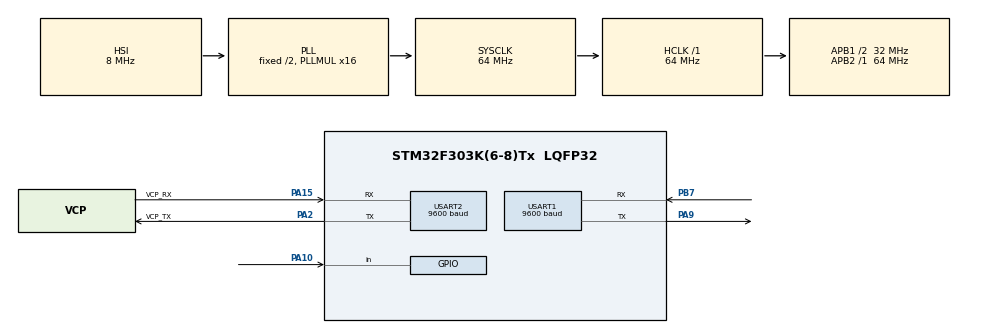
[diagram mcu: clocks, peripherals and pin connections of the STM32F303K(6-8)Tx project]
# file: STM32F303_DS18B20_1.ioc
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Dma.Request0=USART1_RX
Dma.Request1=USART1_TX
Dma.USART1_RX.0.Direction=DMA_PERIPH_TO_MEMORY
Dma.USART1_RX.0.Instance=DMA1_Channel5
Dma.USART1_RX.0.MemDataAlignment=DMA_MDATAALIGN_BYTE
Dma.USART1_RX.0.MemInc=DMA_MINC_ENABLE
Dma.USART1_RX.0.Mode=DMA_NORMAL
Dma.USART1_RX.0.PeriphDataAlignment=DMA_PDATAALIGN_BYTE
Dma.USART1_RX.0.PeriphInc=DMA_PINC_DISABLE
Dma.USART1_RX.0.Priority=DMA_PRIORITY_HIGH
Dma.USART1_TX.1.Direction=DMA_MEMORY_TO_PERIPH
Dma.USART1_TX.1.Instance=DMA1_Channel4
Dma.USART1_TX.1.MemDataAlignment=DMA_MDATAALIGN_BYTE
Dma.USART1_TX.1.MemInc=DMA_MINC_ENABLE
Dma.USART1_TX.1.Mode=DMA_NORMAL
Dma.USART1_TX.1.PeriphDataAlignment=DMA_PDATAALIGN_BYTE
Dma.USART1_TX.1.PeriphInc=DMA_PINC_DISABLE
Dma.USART1_TX.1.Priority=DMA_PRIORITY_VERY_HIGH
Mcu.Family=STM32F3
Mcu.Name=STM32F303K(6-8)Tx
Mcu.Package=LQFP32
NVIC.DMA1_Channel4_IRQn=true\:0\:0\:false\:false\:true\:false
NVIC.DMA1_Channel5_IRQn=true\:0\:0\:false\:false\:true\:false
NVIC.PriorityGroup=NVIC_PRIORITYGROUP_4
NVIC.TIM2_IRQn=true\:0\:0\:false\:false\:true\:true
NVIC.USART1_IRQn=true\:0\:0\:false\:false\:true\:true
PA10.Signal=GPIO_Input
PA13.GPIO_Label=SWDIO
PA13.Mode=Serial_Wire
PA13.Signal=SYS_JTMS-SWDIO
PA14.GPIO_Label=SWCLK
PA14.Mode=Serial_Wire
PA14.Signal=SYS_JTCK-SWCLK
PA15.GPIO_Label=VCP_RX
PA15.Mode=Asynchronous
PA15.Signal=USART2_RX
PA2.GPIO_Label=VCP_TX
PA2.Mode=Asynchronous
PA2.Signal=USART2_TX
PA9.GPIO_FM8=SYSCFG_CFGR1_I2C_PB8_FMP
PA9.Mode=Asynchronous
PA9.Signal=USART1_TX
PB7.GPIO_FM8=SYSCFG_CFGR1_I2C_PB8_FMP
PB7.Mode=Asynchronous
PB7.Signal=USART1_RX
PF0\ /\ OSC_IN.GPIO_Label=MCO
PF0\ /\ OSC_IN.Signal=RCC_OSC_IN
ProjectManager.HeapSize=0x200
ProjectManager.StackSize=0x400
ProjectManager.TargetToolchain=SW4STM32
RCC.AHBFreq_Value=64000000
RCC.APB1CLKDivider=RCC_HCLK_DIV2
RCC.APB1Freq_Value=32000000
RCC.APB1TimFreq_Value=64000000
RCC.APB2Freq_Value=64000000
RCC.APB2TimFreq_Value=64000000
RCC.CortexFreq_Value=64000000
RCC.HCLKFreq_Value=64000000
RCC.HSE_VALUE=8000000
RCC.HSI_VALUE=8000000
RCC.PLLMUL=RCC_PLL_MUL16
RCC.SYSCLKFreq_VALUE=64000000
RCC.SYSCLKSourceVirtual=RCC_SYSCLKSOURCE_PLLCLK
TIM2.Prescaler=8
USART1.BaudRate=9600
USART1.VirtualMode-Asynchronous=VM_ASYNC
USART1.WordLength=WORDLENGTH_8B
USART2.BaudRate=9600
USART2.VirtualMode-Asynchronous=VM_ASYNC
USART2.WordLength=WORDLENGTH_8B
VP_TIM2_VS_ClockSourceINT.Mode=Internal
board=NUCLEO-F303K8

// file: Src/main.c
/**
  ******************************************************************************
  * File Name          : main.c
  * Description        : Main program body
  ******************************************************************************
  ** This notice applies to any and all portions of this file
  * that are not between comment pairs USER CODE BEGIN and
  * USER CODE END. Other portions of this file, whether
  * inserted by the user or by software development tools
  * are owned by their respective copyright owners.
  *
  * COPYRIGHT(c) 2017 STMicroelectronics
  *
  * Redistribution and use in source and binary forms, with or without modification,
  * are permitted provided that the following conditions are met:
  *   1. Redistributions of source code must retain the above copyright notice,
  *      this list of conditions and the following disclaimer.
  *   2. Redistributions in binary form must reproduce the above copyright notice,
  *      this list of conditions and the following disclaimer in the documentation
  *      and/or other materials provided with the distribution.
  *   3. Neither the name of STMicroelectronics nor the names of its contributors
  *      may be used to endorse or promote products derived from this software
  *      without specific prior written permission.
  *
  * THIS SOFTWARE IS PROVIDED BY THE COPYRIGHT HOLDERS AND CONTRIBUTORS "AS IS"
  * AND ANY EXPRESS OR IMPLIED WARRANTIES, INCLUDING, BUT NOT LIMITED TO, THE
  * IMPLIED WARRANTIES OF MERCHANTABILITY AND FITNESS FOR A PARTICULAR PURPOSE ARE
  * DISCLAIMED. IN NO EVENT SHALL THE COPYRIGHT HOLDER OR CONTRIBUTORS BE LIABLE
  * FOR ANY DIRECT, INDIRECT, INCIDENTAL, SPECIAL, EXEMPLARY, OR CONSEQUENTIAL
  * DAMAGES (INCLUDING, BUT NOT LIMITED TO, PROCUREMENT OF SUBSTITUTE GOODS OR
  * SERVICES; LOSS OF USE, DATA, OR PROFITS; OR BUSINESS INTERRUPTION) HOWEVER
  * CAUSED AND ON ANY THEORY OF LIABILITY, WHETHER IN CONTRACT, STRICT LIABILITY,
  * OR TORT (INCLUDING NEGLIGENCE OR OTHERWISE) ARISING IN ANY WAY OUT OF THE USE
  * OF THIS SOFTWARE, EVEN IF ADVISED OF THE POSSIBILITY OF SUCH DAMAGE.
  *
  ******************************************************************************
  */
#include "main.h"
#include "stm32f3xx_hal.h"
#include "dma.h"
#include "tim.h"
#include "usart.h"
#include "gpio.h"

/* USER CODE BEGIN Includes */
#include "stm32f3xx_hal.h"
#include "ds18b20.h"
/* USER CODE END Includes */

/* USER CODE BEGIN PV */
/* Private variables ---------------------------------------------------------*/
volatile uint32_t time_us;
/* USER CODE END PV */

void SystemClock_Config(void);

/* USER CODE BEGIN PFP */
/* Private function prototypes -----------------------------------------------*/

/* USER CODE END PFP */

/* USER CODE BEGIN 0 */
//void HAL_SYSTICK_Callback(void)
//{
//	if( time_us>=0) time_us--;
//}

void HAL_TIM_PeriodElapsedCallback(TIM_HandleTypeDef *htim)
{

	if (htim->Instance==TIM2){
		time_us--;
	}

}

int _write( int file, char *ptr, int len )
{
  HAL_UART_Transmit(&huart2,(uint8_t*) ptr, len, 1000);
  return len;
}

uint8_t FunctionBuffer[12];
int8_t devaddr[8]={0x28,0xe9,0xeb,0x6e,0x08,0x0,0x0,0xab};

/* USER CODE END 0 */

int main(void)
{

  /* MCU Configuration----------------------------------------------------------*/

  /* Reset of all peripherals, Initializes the Flash interface and the Systick. */
  HAL_Init();

  /* Configure the system clock */
  SystemClock_Config();

  /* USER CODE BEGIN SysInit */
  HAL_UART_MspInit(&huart1);
  /* USER CODE END SysInit */

  /* Initialize all configured peripherals */
  MX_GPIO_Init();
  MX_DMA_Init();
  MX_USART2_UART_Init();
  MX_USART1_UART_Init();
  MX_TIM2_Init();

  /* USER CODE BEGIN 2 */

  DS18B20_InitSeq();

  printf("\nInitialzed Success!!\n");
  int8_t addr[8];

  DS18B20_ResetDeviceSearchInfo();

  if (!DS18B20_DeviceSearch(addr))printf("No device Found.\r\n");
  else{
    printf("Address = ");
    for (int i = 0; i < ADDRESS_SIZE; i++)
    {
        printf("0x%02x ", (uint8_t)addr[i]);
    }
    printf("\r\n");
  }

  /* USER CODE END 2 */

  /* Infinite loop */
  while (1)
  {

  /* USER CODE BEGIN 3 */

		float tmp;

		tmp=DS18B20_GetTemperature();
		//tmp=DS18B20_GetSelectDeviceTemperature(devaddr);
		printf("TMP: %2.2f 'C \n",tmp);

		HAL_Delay(300);

  }
  /* USER CODE END 3 */

}

/** System Clock Configuration
*/
void SystemClock_Config(void)
{

  RCC_OscInitTypeDef RCC_OscInitStruct;
  RCC_ClkInitTypeDef RCC_ClkInitStruct;
  RCC_PeriphCLKInitTypeDef PeriphClkInit;

    /**Initializes the CPU, AHB and APB busses clocks
    */
  RCC_OscInitStruct.OscillatorType = RCC_OSCILLATORTYPE_HSI;
  RCC_OscInitStruct.HSIState = RCC_HSI_ON;
  RCC_OscInitStruct.HSICalibrationValue = 16;
  RCC_OscInitStruct.PLL.PLLState = RCC_PLL_ON;
  RCC_OscInitStruct.PLL.PLLSource = RCC_PLLSOURCE_HSI;
  RCC_OscInitStruct.PLL.PLLMUL = RCC_PLL_MUL16;
  if (HAL_RCC_OscConfig(&RCC_OscInitStruct) != HAL_OK)
  {
    _Error_Handler(__FILE__, __LINE__);
  }

    /**Initializes the CPU, AHB and APB busses clocks
    */
  RCC_ClkInitStruct.ClockType = RCC_CLOCKTYPE_HCLK|RCC_CLOCKTYPE_SYSCLK
                              |RCC_CLOCKTYPE_PCLK1|RCC_CLOCKTYPE_PCLK2;
  RCC_ClkInitStruct.SYSCLKSource = RCC_SYSCLKSOURCE_PLLCLK;
  RCC_ClkInitStruct.AHBCLKDivider = RCC_SYSCLK_DIV1;
  RCC_ClkInitStruct.APB1CLKDivider = RCC_HCLK_DIV2;
  RCC_ClkInitStruct.APB2CLKDivider = RCC_HCLK_DIV1;

  if (HAL_RCC_ClockConfig(&RCC_ClkInitStruct, FLASH_LATENCY_2) != HAL_OK)
  {
    _Error_Handler(__FILE__, __LINE__);
  }

  PeriphClkInit.PeriphClockSelection = RCC_PERIPHCLK_USART1;
  PeriphClkInit.Usart1ClockSelection = RCC_USART1CLKSOURCE_PCLK1;
  if (HAL_RCCEx_PeriphCLKConfig(&PeriphClkInit) != HAL_OK)
  {
    _Error_Handler(__FILE__, __LINE__);
  }

    /**Configure the Systick interrupt time
    */
  HAL_SYSTICK_Config(HAL_RCC_GetHCLKFreq()/1000);

    /**Configure the Systick
    */
  HAL_SYSTICK_CLKSourceConfig(SYSTICK_CLKSOURCE_HCLK);

  /* SysTick_IRQn interrupt configuration */
  HAL_NVIC_SetPriority(SysTick_IRQn, 0, 0);
}

void _Error_Handler(char * file, int line)
{
  while(1)
  {
  }
}

/************************ (C) COPYRIGHT STMicroelectronics *****END OF FILE****/
